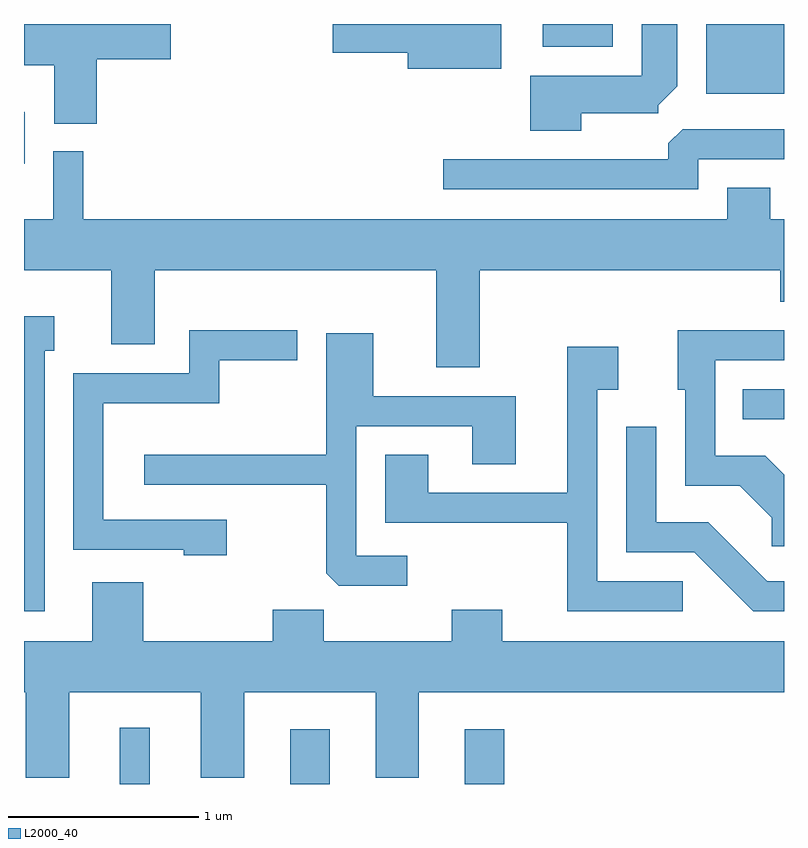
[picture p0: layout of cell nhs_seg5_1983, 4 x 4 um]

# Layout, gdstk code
import gdstk
lib = gdstk.Library(unit=1e-6, precision=1e-09)
def R(c, l, rs):  # rectangles x0, y0, x1, y1
    for r in rs: c.add(gdstk.rectangle(r[:2], r[2:], *l))
def P(c, l, *ps):  # polygons
    for p in ps: c.add(gdstk.Polygon(p, *l))
L2000_40 = (2000, 40)

nhs_seg5_1983 = lib.new_cell('nhs_seg5_1983')
R(nhs_seg5_1983, L2000_40, [(244.116,1474.072,244.274,1474.368), (245.011,1474.072,245.219,1474.359), (245.931,1474.072,246.139,1474.359), (247.393,1475.991,247.611,1476.149), (247.201,1477.706,247.611,1478.072), (246.341,1477.951,246.709,1478.072)])
P(nhs_seg5_1983, L2000_40, [(246.544,1477.601),(246.949,1477.601),(246.949,1477.644),(247.049,1477.744),(247.049,1478.072),(246.861,1478.072),(246.861,1477.799),(246.276,1477.799),(246.276,1477.511),(246.544,1477.511)],
  [(246.124,1478.072),(245.236,1478.072),(245.236,1477.921),(245.631,1477.921),(245.631,1477.836),(246.124,1477.836)],
  [(243.994,1477.886),(244.384,1477.886),(244.384,1478.072),(243.611,1478.072),(243.611,1477.856),(243.771,1477.856),(243.771,1477.546),(243.994,1477.546)],
  [(243.614,1477.607),(243.611,1477.61),(243.611,1477.336),(243.614,1477.336)],
  [(247.159,1477.361),(247.611,1477.361),(247.611,1477.519),(247.077,1477.519),(247.001,1477.444),(247.001,1477.359),(245.818,1477.359),(245.818,1477.201),(247.159,1477.201)],
  [(246.009,1476.776),(247.591,1476.776),(247.591,1476.611),(247.611,1476.611),(247.611,1477.044),(247.539,1477.044),(247.539,1477.209),(247.311,1477.209),(247.311,1477.044),(243.924,1477.044),(243.924,1477.403),(243.766,1477.403),(243.766,1477.044),(243.611,1477.044),(243.611,1476.776),(244.071,1476.776),(244.071,1476.386),(244.299,1476.386),(244.299,1476.776),(245.781,1476.776),(245.781,1476.266),(246.009,1476.266)],
  [(243.719,1476.351),(243.769,1476.351),(243.769,1476.534),(243.611,1476.534),(243.611,1474.981),(243.719,1474.981)],
  [(244.679,1475.464),(244.029,1475.464),(244.029,1476.076),(244.639,1476.076),(244.639,1476.301),(245.048,1476.301),(245.048,1476.459),(244.481,1476.459),(244.481,1476.234),(243.871,1476.234),(243.871,1475.306),(244.451,1475.306),(244.451,1475.276),(244.679,1475.276)],
  [(247.611,1475.7),(247.512,1475.799),(247.249,1475.799),(247.249,1476.301),(247.611,1476.301),(247.611,1476.459),(247.051,1476.459),(247.051,1476.146),(247.091,1476.146),(247.091,1475.641),(247.379,1475.641),(247.546,1475.474),(247.546,1475.323),(247.611,1475.323)],
  [(245.628,1475.274),(245.359,1475.274),(245.359,1475.956),(245.971,1475.956),(245.971,1475.756),(246.199,1475.756),(246.199,1476.114),(245.449,1476.114),(245.449,1476.444),(245.201,1476.444),(245.201,1475.804),(244.243,1475.804),(244.243,1475.646),(245.201,1475.646),(245.201,1475.182),(245.267,1475.116),(245.628,1475.116)],
  [(247.078,1475.139),(246.629,1475.139),(246.629,1476.146),(246.739,1476.146),(246.739,1476.374),(246.471,1476.374),(246.471,1475.604),(245.739,1475.604),(245.739,1475.804),(245.511,1475.804),(245.511,1475.446),(246.471,1475.446),(246.471,1474.981),(247.078,1474.981)],
  [(247.611,1475.139),(247.522,1475.139),(247.212,1475.449),(246.939,1475.449),(246.939,1475.953),(246.781,1475.953),(246.781,1475.291),(247.139,1475.291),(247.449,1474.981),(247.611,1474.981)],
  [(243.849,1474.556),(244.541,1474.556),(244.541,1474.106),(244.769,1474.106),(244.769,1474.556),(245.461,1474.556),(245.461,1474.106),(245.689,1474.106),(245.689,1474.556),(247.611,1474.556),(247.611,1474.824),(246.129,1474.824),(246.129,1474.989),(245.861,1474.989),(245.861,1474.824),(245.189,1474.824),(245.189,1474.989),(244.921,1474.989),(244.921,1474.824),(244.239,1474.824),(244.239,1475.134),(243.971,1475.134),(243.971,1474.824),(243.611,1474.824),(243.611,1474.556),(243.621,1474.556),(243.621,1474.106),(243.849,1474.106)])

lib.write_gds('nhs_seg5_1983.gds')
